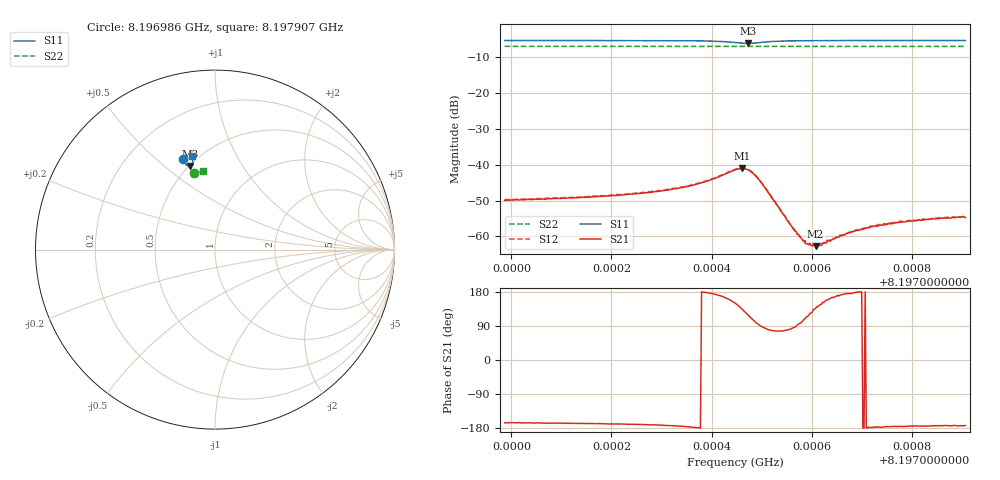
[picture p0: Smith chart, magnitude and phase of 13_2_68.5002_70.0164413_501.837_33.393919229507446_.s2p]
#  HZ  S  RI  R  50.00
! Rohde & Schwarz Vector Network Analyzer
! Rohde-Schwarz,ZNB20-2Port,1311601062101988,3.16
! Created: UTC 3/20/2024, 4:49:06 PM
! freq[Hz]  re:S11  im:S11  re:S21  im:S21  re:S12  im:S12  re:S22  im:S22
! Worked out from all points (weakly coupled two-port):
!   401 points, 8.196986 GHz to 8.197907 GHz, reference 50 ohm
!   highest |S21| = -41.06 dB at 8.197461 GHz (marker M1); lowest = -62.7 dB at 8.197608 GHz (marker M2)
!   lowest |S11| = -6.3 dB at 8.197472 GHz (marker M3), VSWR 2.90, Z = 25.2 + j30.8 ohm
!   |S11| at or under -10 dB: nowhere
!   |S22| runs from -7.1 to -7.0 dB; largest |S21 - S12| = 0.00044
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8.1969864e9  -0.1803 0.5047  -0.00308 -0.000786  -0.00319 -0.000665  -0.1154 0.4287
8.1971407e9  -0.1679 0.5086  -0.00343 -0.000753  -0.00347 -0.000634  -0.1069 0.4307
8.1972121e9  -0.1617 0.51  -0.00368 -0.000729  -0.00382 -0.000563  -0.1027 0.4314
8.197295e9  -0.1527 0.5113  -0.00421 -0.000608  -0.00434 -0.000431  -0.0983 0.4324
8.1973732e9  -0.1402 0.5104  -0.00543 -9.66e-05  -0.00549 0.000116  -0.0936 0.4331
8.1974055e9  -0.132 0.5065  -0.00635 0.000675  -0.0064 0.000964  -0.0918 0.4332
8.1974469e9  -0.1226 0.4862  -0.00733 0.0042  -0.00729 0.00456  -0.0894 0.4331
8.1974607e9  -0.1276 0.4737  -0.00626 0.00625  -0.0061 0.00664  -0.089 0.4329
8.1974723e9  -0.1388 0.4665  -0.00424 0.00739  -0.00398 0.00769  -0.0886 0.4331
8.1974838e9  -0.1524 0.4672  -0.00192 0.00721  -0.00164 0.00744  -0.0883 0.4334
8.1974999e9  -0.1641 0.4773  0.000166 0.00553  0.000374 0.00565  -0.0877 0.4335
8.1975621e9  -0.1608 0.5043  0.000128 0.00132  0.000155 0.00131  -0.084 0.4347
8.1975805e9  -0.1578 0.5072  -0.000165 0.000918  -0.000172 0.00091  -0.0831 0.4351
8.1975897e9  -0.1564 0.5085  -0.000325 0.000732  -0.000297 0.000772  -0.0825 0.4351
8.1976012e9  -0.1548 0.5096  -0.000436 0.000599  -0.000443 0.000659  -0.082 0.4353
8.1976081e9  -0.1539 0.5103  -0.000531 0.000504  -0.000534 0.000539  -0.0815 0.4355
8.1976196e9  -0.1524 0.5111  -0.000626 0.000409  -0.000677 0.000416  -0.0808 0.4355
8.1976565e9  -0.1479 0.5134  -0.00102 0.000154  -0.00102 0.000204  -0.0788 0.436
8.1976956e9  -0.1438 0.5152  -0.00121 6.32e-07  -0.00127 5.23e-05  -0.0764 0.436
8.1977555e9  -0.1382 0.5171  -0.00153 -0.000109  -0.00154 -6.6e-05  -0.0731 0.4367
8.1978292e9  -0.1318 0.519  -0.00171 -0.000155  -0.00172 -0.000104  -0.0691 0.4371
8.1979075e9  -0.1257 0.5206  -0.00181 -0.000224  -0.00191 -0.000156  -0.0646 0.4377
